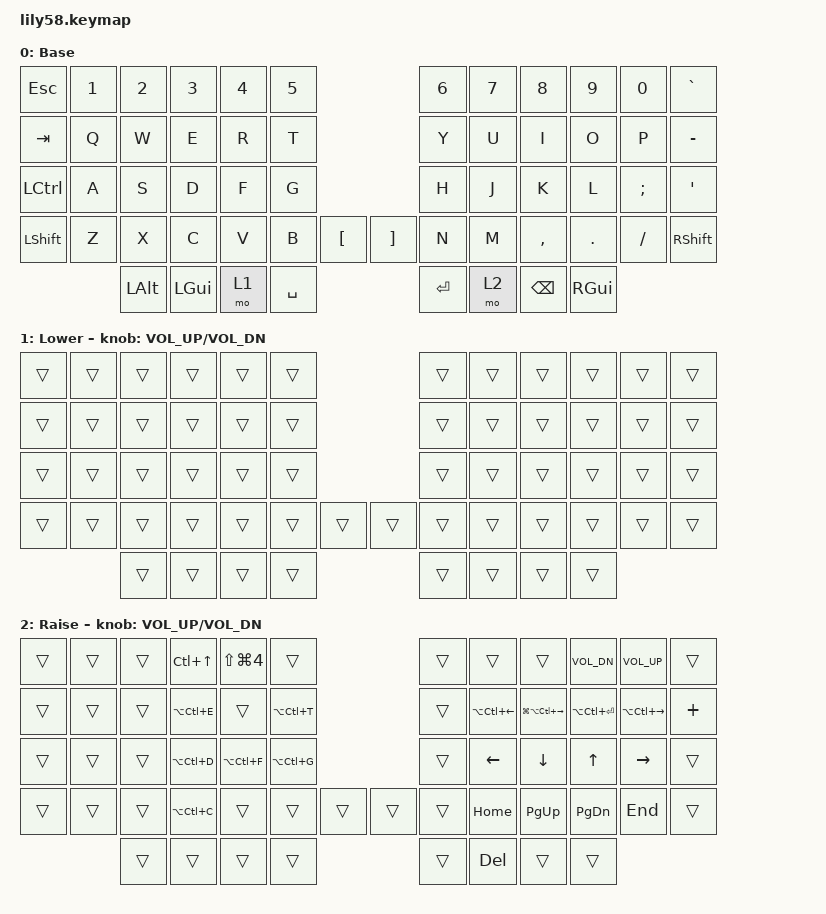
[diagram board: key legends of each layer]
/*
 * Copyright (c) 2020 The ZMK Contributors
 *
 * SPDX-License-Identifier: MIT
 */

#include <behaviors.dtsi>
#include <dt-bindings/zmk/bt.h>
#include <dt-bindings/zmk/keys.h>

/ {
    keymap {
        compatible = "zmk,keymap";

        default_layer {
// | ESC                | 1                  | 2                  | 3                  | 4                  | 5                  |                                         | 6                  | 7                  | 8                  | 9                  | 0                  | `                  |
// | TAB                | Q                  | W                  | E                  | R                  | T                  |                                         | Y                  | U                  | I                  | O                  | P                  | -                  |
// | CTRL               | A                  | S                  | D                  | F                  | G                  |                                         | H                  | J                  | K                  | L                  | ;                  | '                  |
// | SHIFT              | Z                  | X                  | C                  | V                  | B                  | "["                | "]"                | N                  | M                  | ,                  | .                  | /                  | SHIFT              |
//                                           | ALT                | GUI                | LOWER              | SPACE              |                                         | ENTER              | RAISE              | BSPC               | GUI                |

            display-name = "Base";
            bindings = <
     &kp ESC              &kp N1               &kp N2               &kp N3               &kp N4               &kp N5                                                         &kp N6               &kp N7               &kp N8               &kp N9               &kp N0               &kp GRAVE
     &kp TAB              &kp Q                &kp W                &kp E                &kp R                &kp T                                                          &kp Y                &kp U                &kp I                &kp O                &kp P                &kp MINUS
     &kp LCTRL            &kp A                &kp S                &kp D                &kp F                &kp G                                                          &kp H                &kp J                &kp K                &kp L                &kp SEMI             &kp SQT
     &kp LSHFT            &kp Z                &kp X                &kp C                &kp V                &kp B                &kp LBKT             &kp RBKT             &kp N                &kp M                &kp COMMA            &kp DOT              &kp FSLH             &kp RSHFT
                                               &kp LALT             &kp LGUI             &mo 1                &kp SPACE                                                      &kp RET              &mo 2                &kp BSPC             &kp RGUI
            >;
        };

        lower_layer {
// |                    |                    |                    |                    |                    |                    |                                         |                    |                    |                    |                    |                    |                    |
// |                    |                    |                    |                    |                    |                    |                                         |                    |                    |                    |                    |                    |                    |
// |                    |                    |                    |                    |                    |                    |                                         |                    |                    |                    |                    |                    |                    |
// |                    |                    |                    |                    |                    |                    |                    |                    |                    |                    |                    |                    |                    |                    |
//                                           |                    |                    |                    |                    |                                         |                    |                    |                    |                    |
            display-name = "Lower";
            bindings = <
     &trans               &trans               &trans               &trans               &trans               &trans                                                         &trans               &trans               &trans               &trans               &trans               &trans
     &trans               &trans               &trans               &trans               &trans               &trans                                                         &trans               &trans               &trans               &trans               &trans               &trans 
     &trans               &trans               &trans               &trans               &trans               &trans                                                         &trans               &trans               &trans               &trans               &trans               &trans   
     &trans               &trans               &trans               &trans               &trans               &trans               &trans               &trans               &trans               &trans               &trans               &trans               &trans               &trans  
                                               &trans               &trans               &trans               &trans                                                         &trans               &trans               &trans               &trans
            >;

            sensor-bindings = <&inc_dec_kp C_VOL_UP C_VOL_DN>;
        };

        raise_layer {
// |                    |                    |                    | CTRL + ^           | CMD+SHIFT+4        |                    |                                         |                    |                    |                    | Volume down        | Volume up          |                    |
// |                    |                    |                    | CTRL+ALT+E         |                    | CTRL+ALT+T         |                                         |                    | CTRL+ALT + <-      | CMD+CTRL+ALT + ->  | CTRL+ALT+RET       | CTRL+ALT + ->      | +                  |
// |                    |                    |                    | CTRL+ALT+D         | CTRL+ALT+F         | CTRL+ALT+G         |                                         |                    | <-                 | v                  | ^                  | ->                 |                    |
// |                    |                    |                    | CTRL+ALT+C         |                    |                    |                     |                   |                    | Home               | Page down          | Page up            | End                |                    |
//                                           |                    |                    |                    |                    |                                         |                    | Delete             |                    |                    |

            display-name = "Raise";
            bindings = <
     &trans               &trans               &trans               &kp LC(UP)           &kp LS(LG(N4))       &trans                                                         &trans               &trans               &trans               &kp C_VOL_DN         &kp C_VOL_UP         &trans
     &trans               &trans               &trans               &kp LA(LC(E))        &trans               &kp LA(LC(T))                                                  &trans               &kp LA(LC(LEFT))     &kp LG(LA(LC(RIGHT))) &kp LA(LC(RET))     &kp LA(LC(RIGHT))    &kp PLUS
     &trans               &trans               &trans               &kp LA(LC(D))        &kp LA(LC(F))        &kp LA(LC(G))                                                  &trans               &kp LEFT             &kp DOWN             &kp UP               &kp RIGHT            &trans
     &trans               &trans               &trans               &kp LA(LC(C))        &trans               &trans               &trans               &trans               &trans               &kp HOME             &kp PAGE_UP          &kp PAGE_DOWN        &kp END              &trans
                                               &trans               &trans               &trans               &trans                                                         &trans               &kp DEL              &trans               &trans
            >;

            sensor-bindings = <&inc_dec_kp C_VOL_UP C_VOL_DN>;
        };
    };
};
